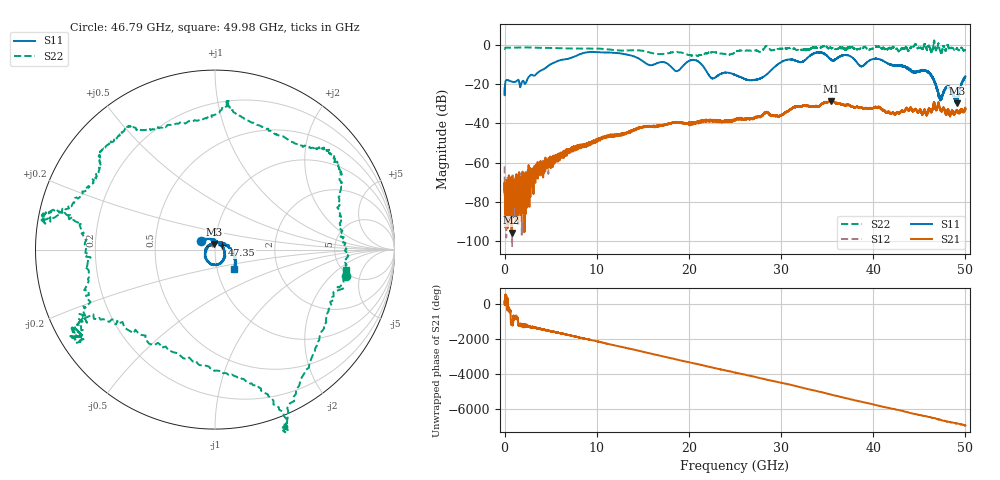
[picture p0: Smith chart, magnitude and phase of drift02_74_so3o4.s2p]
!Created with skrf (http://scikit-rf.org).
# Hz S RI R 50.0
!freq ReS11 ImS11 ReS21 ImS21 ReS12 ImS12 ReS22 ImS22
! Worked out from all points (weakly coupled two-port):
!   10001 points, 300 kHz to 50 GHz, reference 50 ohm
!   highest |S21| = -28.55 dB at 35.38 GHz (marker M1); lowest = -95.8 dB at 755.3 MHz (marker M2)
!   lowest |S11| = -29.9 dB at 49.07 GHz (marker M3), VSWR 1.07, Z = 49.5 + j3.16 ohm
!   |S11| at or under -10 dB: start of sweep to 4.956 GHz; 21.38 GHz to 29.63 GHz (8.252 GHz wide, 32.4 % of centre); 41.88 GHz to end of sweep (the widest 3 of 14)
!   |S22| runs from -5.7 to 2.2 dB; largest |S21 - S12| = 0.0034
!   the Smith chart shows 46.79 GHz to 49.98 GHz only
!   S11 on the Smith chart (normalised r, x): 46.79 GHz: 0.85, +0.09; 47.35 GHz: 1.08, +0.05; 49.98 GHz: 1.20, -0.27
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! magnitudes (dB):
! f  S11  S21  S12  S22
! 300 kHz  -22.1  -74.1  -61.9  -2.0
! 265.3 MHz  -17.9  -80.4  -81.5  -1.4
! 755.3 MHz  -18.7  -95.8  -77.7  -1.5
! 1.875 GHz  -19.0  -68.7  -75.4  -1.3
! 8.335 GHz  -4.5  -52.0  -51.5  -1.9
! 16.67 GHz  -9.1  -41.5  -41.4  -4.7
! 18.7 GHz  -13.5  -39.5  -39.4  -3.7
! 20.6 GHz  -7.7  -40.0  -39.8  -5.7
! 22.52 GHz  -17.1  -38.7  -38.7  -3.7
! 25 GHz  -15.3  -38.4  -38.4  -3.9
! 27.5 GHz  -17.6  -36.7  -36.6  -3.2
! 30.22 GHz  -8.3  -35.5  -35.3  -2.0
! 33.34 GHz  -4.9  -31.5  -31.3  -1.6
! 35.38 GHz  -7.5  -28.6  -28.7  -1.4
! 41.67 GHz  -9.7  -33.9  -34.0  -1.9
! 45.79 GHz  -13.6  -35.5  -35.5  -2.4
! 46.79 GHz  -20.6  -32.9  -33.0  -2.6
! 47.35 GHz  -26.7  -33.1  -33.6  -4.2
! 48.11 GHz  -21.4  -33.1  -33.3  -0.5
! 49.07 GHz  -29.9  -34.1  -33.9  -1.6
! 49.98 GHz  -16.4  -32.1  -33.0  -2.7
! 50 GHz  -16.2  -32.7  -33.3  -2.7
